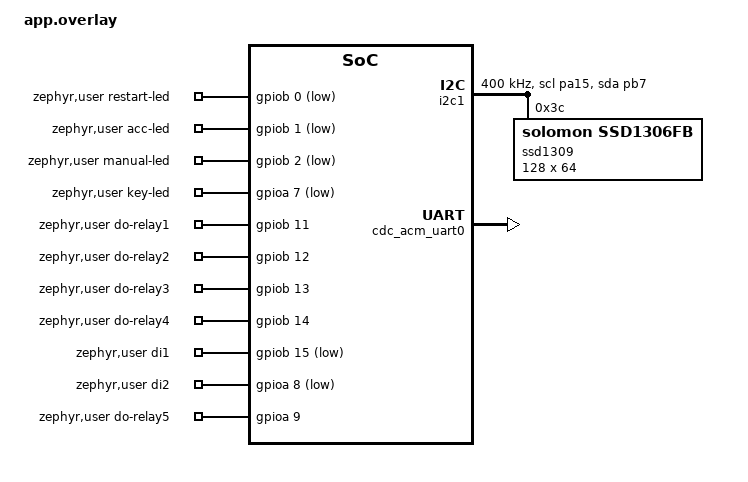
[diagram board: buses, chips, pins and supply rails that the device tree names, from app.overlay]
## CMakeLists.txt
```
# Copyright (c) 2026
# SPDX-License-Identifier: Apache-2.0

cmake_minimum_required(VERSION 3.20.0)

find_package(Zephyr REQUIRED HINTS $ENV{ZEPHYR_BASE})
project(AGMO_TIC)

target_sources(app PRIVATE
    src/main.c
    src/tic_output.c
    src/tic_input.c
    src/tic_fsm.c
    src/tic_can.c
    src/tic_shell.c
)
```

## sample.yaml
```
sample:
  name: AGMO_TIC bring-up test
tests:
  app.agmo_tic:
    platform_allow: agmo_tic
    tags:
      - gpio
      - usb
      - can
```

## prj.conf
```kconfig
CONFIG_GPIO=y

CONFIG_DAJILOG_COMPONENT_ADS1232=n
CONFIG_DAJILOG_COMPONENT_OLED_DISPLAY=n
CONFIG_DAJILOG_COMPONENT_RS485_MODBUS=n
CONFIG_DAJILOG_COMPONENT_CAN_BUS=n
CONFIG_DAJILOG_COMPONENT_SBUS=n
CONFIG_DAJILOG_COMPONENT_SDI12_SLAVE=n

CONFIG_CAN=y
CONFIG_CAN_FD_MODE=n
CONFIG_CAN_DEFAULT_BITRATE=250000

CONFIG_PRINTK=y
CONFIG_LOG=n

CONFIG_SHELL=y
CONFIG_SHELL_BACKEND_SERIAL=y
CONFIG_SHELL_MINIMAL=y
CONFIG_SHELL_HELP=y
CONFIG_SHELL_HELP_OPT_PARSE=y
CONFIG_SHELL_HELP_ON_WRONG_ARGUMENT_COUNT=y
CONFIG_SHELL_STACK_SIZE=1024
CONFIG_SHELL_CMD_BUFF_SIZE=64
CONFIG_SHELL_PRINTF_BUFF_SIZE=32
CONFIG_SHELL_ARGC_MAX=5
CONFIG_SHELL_HISTORY=n
CONFIG_SHELL_TAB=n
CONFIG_SHELL_WILDCARD=n
CONFIG_SHELL_METAKEYS=n
CONFIG_SHELL_STATS=n
CONFIG_SHELL_VT100_COLORS=n
CONFIG_SHELL_PROMPT_CHANGE=n
CONFIG_THREAD_NAME=y
CONFIG_BOOT_BANNER=n
CONFIG_CBPRINTF_NANO=y

CONFIG_SERIAL=y
CONFIG_CONSOLE=y
CONFIG_UART_CONSOLE=y
CONFIG_UART_LINE_CTRL=y

CONFIG_USB_DEVICE_STACK=y
CONFIG_USB_CDC_ACM=y
CONFIG_USB_DEVICE_INITIALIZE_AT_BOOT=n
CONFIG_USB_DEVICE_PRODUCT="AGMO_TIC"
CONFIG_USB_DEVICE_PID=0x0004
```

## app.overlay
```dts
/ {
	chosen {
		zephyr,console = &cdc_acm_uart0;
		zephyr,shell-uart = &cdc_acm_uart0;
		zephyr,display = &ssd1309;
	};

	zephyr,user {
		restart-led-gpios = <&gpiob 0 GPIO_ACTIVE_LOW>;
		acc-led-gpios = <&gpiob 1 GPIO_ACTIVE_LOW>;
		manual-led-gpios = <&gpiob 2 GPIO_ACTIVE_LOW>;
		key-led-gpios = <&gpioa 7 GPIO_ACTIVE_LOW>;
		do-relay1-gpios = <&gpiob 11 GPIO_ACTIVE_HIGH>;
		do-relay2-gpios = <&gpiob 12 GPIO_ACTIVE_HIGH>;
		do-relay3-gpios = <&gpiob 13 GPIO_ACTIVE_HIGH>;
		do-relay4-gpios = <&gpiob 14 GPIO_ACTIVE_HIGH>;
		di1-gpios = <&gpiob 15 GPIO_ACTIVE_LOW>;
		di2-gpios = <&gpioa 8 GPIO_ACTIVE_LOW>;
		do-relay5-gpios = <&gpioa 9 GPIO_ACTIVE_HIGH>;
	};
};

&usart1 {
	status = "disabled";
};

&usart2 {
	status = "disabled";
};

&i2c1 {
	pinctrl-0 = <&i2c1_scl_pa15 &i2c1_sda_pb7>;
	pinctrl-names = "default";
	clock-frequency = <400000>;
	status = "okay";

	ssd1309: ssd1309@3c {
		compatible = "solomon,ssd1306fb";
		reg = <0x3c>;
		width = <128>;
		height = <64>;
		segment-offset = <0>;
		page-offset = <0>;
		display-offset = <0>;
		multiplex-ratio = <63>;
		segment-remap;
		com-invdir;
		prechargep = <0x22>;
	};
};

&zephyr_udc0 {
	cdc_acm_uart0: cdc_acm_uart0 {
		compatible = "zephyr,cdc-acm-uart";
	};
};
```

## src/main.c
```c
/* SPDX-License-Identifier: Apache-2.0 */

#include <zephyr/device.h>
#include <zephyr/devicetree.h>
#include <zephyr/drivers/uart.h>
#include <zephyr/kernel.h>
#include <zephyr/sys/printk.h>
#include <zephyr/usb/usb_device.h>

#include "tic_can.h"
#include "tic_fsm.h"
#include "tic_input.h"
#include "tic_output.h"

#define USB_DTR_WAIT_MS 3000

static const struct device *const console_dev =
	DEVICE_DT_GET(DT_CHOSEN(zephyr_console));

static void start_usb_console(void)
{
	uint32_t dtr = 0;
	int ret;

	ret = usb_enable(NULL);
	if (ret != 0 && ret != -EALREADY) {
		return;
	}
	for (int elapsed = 0; elapsed < USB_DTR_WAIT_MS; elapsed += 100) {
		(void)uart_line_ctrl_get(console_dev, UART_LINE_CTRL_DTR, &dtr);
		if (dtr != 0U) {
			break;
		}
		k_sleep(K_MSEC(100));
	}
}

int main(void)
{
	int ret;

	ret = tic_output_init();
	if (ret != 0) {
		return 0;
	}
	ret = tic_fsm_start();
	if (ret != 0) {
		(void)tic_output_all_off();
		return 0;
	}
	ret = tic_input_init();
	if (ret == 0) {
		ret = tic_input_start();
	}
	if (ret != 0) {
		const struct tic_event fault = { .type = TIC_EVENT_INTERNAL_FAULT };
		(void)tic_fsm_post(&fault, K_MSEC(20));
	}

	ret = tic_can_init();
	if (ret == 0) {
		ret = tic_can_start();
	}
	if (ret != 0) {
		const struct tic_event fault = { .type = TIC_EVENT_INTERNAL_FAULT };
		(void)tic_fsm_post(&fault, K_MSEC(20));
	}

	start_usb_console();
	printk("AGMO TIC ready. Type 'help'.\r\n");
	return 0;
}
```

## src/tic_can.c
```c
/* SPDX-License-Identifier: Apache-2.0 */

#include "tic_can.h"

#include <zephyr/device.h>
#include <zephyr/devicetree.h>
#include <zephyr/drivers/can.h>
#include <zephyr/kernel.h>
#include <zephyr/sys/atomic.h>

#include "tic_fsm.h"
#include "tic_input.h"
#include "tic_output.h"

#define TIC_CAN_COMMAND_ID 0x18FF0001U
#define TIC_CAN_STATUS_ID 0x18FF0100U
#define TIC_CAN_PERIOD_MS 200
#define TIC_CAN_TIMEOUT_MS 2000
#define TIC_CAN_THREAD_STACK_SIZE 1536
#define TIC_CAN_THREAD_PRIORITY 4
#define TIC_CAN_RX_QUEUE_DEPTH 8

enum tic_can_command {
	TIC_CMD_AUTO_OFF = 0x00,
	TIC_CMD_AUTO_ON = 0x01,
	TIC_CMD_START = 0x02,
	TIC_CMD_ALL_OFF = 0x03,
	TIC_CMD_ENGINE_STOP = 0x04,
};

static const struct device *const can_dev =
	DEVICE_DT_GET(DT_CHOSEN(zephyr_canbus));
K_MSGQ_DEFINE(can_rx_queue, sizeof(struct can_frame), TIC_CAN_RX_QUEUE_DEPTH,
	      sizeof(uint32_t));
K_THREAD_STACK_DEFINE(can_thread_stack, TIC_CAN_THREAD_STACK_SIZE);
static struct k_thread can_thread_data;
static struct tic_can_snapshot snapshot;
K_MUTEX_DEFINE(can_snapshot_mutex);
static atomic_t rx_count;
static atomic_t rx_drop_count;
static atomic_t rx_invalid_count;
static atomic_t tx_count;
static atomic_t tx_error_count;
static int rx_filter_id = -ENODEV;
static bool initialized;

const char *tic_can_state_name(enum can_state state)
{
	switch (state) {
	case CAN_STATE_ERROR_ACTIVE:
		return "error-active";
	case CAN_STATE_ERROR_WARNING:
		return "error-warning";
	case CAN_STATE_ERROR_PASSIVE:
		return "error-passive";
	case CAN_STATE_BUS_OFF:
		return "bus-off";
	case CAN_STATE_STOPPED:
		return "stopped";
	default:
		return "unknown";
	}
}

static void can_rx_callback(const struct device *dev, struct can_frame *frame,
			    void *user_data)
{
	ARG_UNUSED(dev);
	ARG_UNUSED(user_data);

	atomic_inc(&rx_count);
	if (k_msgq_put(&can_rx_queue, frame, K_NO_WAIT) != 0) {
		atomic_inc(&rx_drop_count);
	}
}

static void post_simple_event(enum tic_event_type type, uint8_t command_code)
{
	const struct tic_event event = {
		.type = type,
		.command_code = command_code,
		.source = TIC_CONTROL_CAN,
	};

	(void)tic_fsm_post(&event, K_MSEC(20));
}

static bool command_frame_format_valid(const struct can_frame *frame)
{
	if (frame->id != TIC_CAN_COMMAND_ID || frame->dlc != 8 ||
	    (frame->flags & CAN_FRAME_IDE) == 0) {
		return false;
	}
	if (frame->data[0] > TIC_CMD_ENGINE_STOP) {
		return false;
	}
	for (size_t i = 2; i < 8; i++) {
		if (frame->data[i] != 0) {
			return false;
		}
	}
	if (frame->data[0] != TIC_CMD_START && frame->data[1] != 0) {
		return false;
	}
	return true;
}

static void process_command_frame(const struct can_frame *frame,
				  int64_t *last_valid_rx_ms)
{
	uint8_t command;
	struct tic_event event;

	if (!command_frame_format_valid(frame)) {
		atomic_inc(&rx_invalid_count);
		return;
	}

	command = frame->data[0];
	*last_valid_rx_ms = k_uptime_get();
	post_simple_event(TIC_EVENT_CAN_VALID, command);

	switch (command) {
	case TIC_CMD_AUTO_OFF:
		post_simple_event(TIC_EVENT_AUTO_DISABLE, command);
		break;
	case TIC_CMD_AUTO_ON:
		post_simple_event(TIC_EVENT_AUTO_ENABLE, command);
		break;
	case TIC_CMD_START:
		/* START never acquires AUTO control; FSM rejects it unless ready. */
		event = (struct tic_event){
			.type = TIC_EVENT_START_REQUEST,
			.crank_time_ms = (uint16_t)frame->data[1] * 100U,
			.command_code = command,
			.source = TIC_CONTROL_CAN,
		};
		(void)tic_fsm_post(&event, K_MSEC(20));
		break;
	case TIC_CMD_ALL_OFF:
		post_simple_event(TIC_EVENT_ALL_OFF, command);
		break;
	case TIC_CMD_ENGINE_STOP:
		post_simple_event(TIC_EVENT_STOP_REQUEST, command);
		break;
	default:
		break;
	}
}

static int send_status_frame(void)
{
	struct tic_fsm_snapshot fsm;
	struct tic_input_snapshot input;
	struct tic_output_snapshot output;
	struct can_frame frame = {
		.id = TIC_CAN_STATUS_ID,
		.dlc = 8,
		.flags = CAN_FRAME_IDE,
	};
	int ret;

	tic_fsm_get_snapshot(&fsm);
	tic_input_get_snapshot(&input);
	tic_output_get_snapshot(&output);

	frame.data[0] = (input.di1_key_on ? BIT(0) : 0U) |
			(input.di2_manual_crank ? BIT(1) : 0U);
	frame.data[1] = (output.r1_key_on ? BIT(0) : 0U) |
			(output.r2_restart ? BIT(1) : 0U) |
			(output.r3_manual_lockout ? BIT(2) : 0U) |
			(output.r4_engine_stop ? BIT(3) : 0U);
	frame.data[2] = (fsm.auto_enabled ? BIT(0) : 0U) |
			(fsm.state == TIC_STATE_AUTO_READY ? BIT(1) : 0U) |
			(fsm.start_accepted ? BIT(2) : 0U) |
			(fsm.state == TIC_STATE_AUTO_CRANKING ? BIT(3) : 0U) |
			(fsm.start_complete ? BIT(4) : 0U) |
			(fsm.start_rejected ? BIT(5) : 0U) |
			(fsm.command_valid ? BIT(6) : 0U) |
			(fsm.can_timeout ? BIT(7) : 0U);
	frame.data[3] = (uint8_t)fsm.state;
	frame.data[4] = fsm.fault != TIC_FAULT_NONE ?
			(uint8_t)(0x80U | (uint8_t)fsm.fault) :
			(uint8_t)fsm.inhibit;
	frame.data[5] = fsm.last_command_code;
	frame.data[6] = (fsm.stop_accepted ? BIT(0) : 0U) |
			(fsm.stop_complete ? BIT(1) : 0U) |
			(fsm.stop_rejected ? BIT(2) : 0U);
	frame.data[7] = (uint8_t)MIN(DIV_ROUND_UP(fsm.crank_remaining_ms, 100U),
				     UINT8_MAX);

	ret = can_send(can_dev, &frame, K_MSEC(50), NULL, NULL);
	if (ret == 0) {
		atomic_inc(&tx_count);
	} else {
		atomic_inc(&tx_error_count);
	}
	return ret;
}

static void update_can_snapshot(bool command_received, bool timeout,
				enum can_state state,
				const struct can_bus_err_cnt *error_count,
				int last_error)
{
	k_mutex_lock(&can_snapshot_mutex, K_FOREVER);
	snapshot.ready = true;
	snapshot.command_received = command_received;
	snapshot.timeout = timeout;
	snapshot.bus_state = state;
	snapshot.error_count = *error_count;
	snapshot.rx_count = (uint32_t)atomic_get(&rx_count);
	snapshot.rx_drop_count = (uint32_t)atomic_get(&rx_drop_count);
	snapshot.rx_invalid_count = (uint32_t)atomic_get(&rx_invalid_count);
	snapshot.tx_count = (uint32_t)atomic_get(&tx_count);
	snapshot.tx_error_count = (uint32_t)atomic_get(&tx_error_count);
	snapshot.last_error = last_error;
	k_mutex_unlock(&can_snapshot_mutex);
}

static void can_thread(void *arg1, void *arg2, void *arg3)
{
	struct can_frame frame;
	struct can_bus_err_cnt error_count = { 0 };
	enum can_state bus_state = CAN_STATE_STOPPED;
	int64_t next_status_ms = k_uptime_get() + TIC_CAN_PERIOD_MS;
	int64_t last_valid_rx_ms = 0;
	bool command_received = false;
	bool timeout_reported = false;
	bool bus_off_reported = false;
	int last_error = 0;

	ARG_UNUSED(arg1);
	ARG_UNUSED(arg2);
	ARG_UNUSED(arg3);

	while (1) {
		struct tic_fsm_snapshot fsm;
		int ret = k_msgq_get(&can_rx_queue, &frame, K_MSEC(20));
		int64_t now = k_uptime_get();

		if (ret == 0) {
			int64_t before = last_valid_rx_ms;

			process_command_frame(&frame, &last_valid_rx_ms);
			if (last_valid_rx_ms != before) {
				command_received = true;
				timeout_reported = false;
			}
		}

		if (now >= next_status_ms) {
			last_error = send_status_frame();
			next_status_ms += TIC_CAN_PERIOD_MS;
			if (now >= next_status_ms) {
				next_status_ms = now + TIC_CAN_PERIOD_MS;
			}
		}

		ret = can_get_state(can_dev, &bus_state, &error_count);
		if (ret != 0) {
			last_error = ret;
		}
		if (bus_state == CAN_STATE_BUS_OFF && !bus_off_reported) {
			post_simple_event(TIC_EVENT_CAN_BUS_OFF, 0);
			bus_off_reported = true;
		} else if (bus_state != CAN_STATE_BUS_OFF) {
			bus_off_reported = false;
		}

		tic_fsm_get_snapshot(&fsm);
		if (command_received && fsm.auto_enabled &&
		    fsm.auto_control_source == TIC_CONTROL_CAN &&
		    now - last_valid_rx_ms >= TIC_CAN_TIMEOUT_MS &&
		    !timeout_reported) {
			post_simple_event(TIC_EVENT_CAN_TIMEOUT, 0);
			timeout_reported = true;
		}
		if (!fsm.auto_enabled && !fsm.can_timeout) {
			timeout_reported = false;
		}

		update_can_snapshot(command_received, timeout_reported, bus_state,
				    &error_count, last_error);
	}
}

int tic_can_init(void)
{
	const struct can_filter filter = {
		.id = TIC_CAN_COMMAND_ID,
		.mask = CAN_EXT_ID_MASK,
		.flags = CAN_FILTER_IDE,
	};
	int ret;

	if (!device_is_ready(can_dev)) {
		return -ENODEV;
	}

	ret = can_start(can_dev);
	if (ret != 0 && ret != -EALREADY) {
		return ret;
	}

	rx_filter_id = can_add_rx_filter(can_dev, can_rx_callback, NULL, &filter);
	if (rx_filter_id < 0) {
		return rx_filter_id;
	}

	k_mutex_lock(&can_snapshot_mutex, K_FOREVER);
	snapshot = (struct tic_can_snapshot){
		.ready = true,
	};
	k_mutex_unlock(&can_snapshot_mutex);
	initialized = true;
	return 0;
}

int tic_can_start(void)
{
	if (!initialized) {
		return -EAGAIN;
	}

	k_thread_create(&can_thread_data, can_thread_stack,
			K_THREAD_STACK_SIZEOF(can_thread_stack), can_thread,
			NULL, NULL, NULL, TIC_CAN_THREAD_PRIORITY, 0, K_NO_WAIT);
	k_thread_name_set(&can_thread_data, "tic_can");
	return 0;
}

void tic_can_get_snapshot(struct tic_can_snapshot *out)
{
	if (out == NULL) {
		return;
	}
	k_mutex_lock(&can_snapshot_mutex, K_FOREVER);
	*out = snapshot;
	k_mutex_unlock(&can_snapshot_mutex);
}
```

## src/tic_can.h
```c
/* SPDX-License-Identifier: Apache-2.0 */

#ifndef AGMO_TIC_CAN_H_
#define AGMO_TIC_CAN_H_

#include <stdbool.h>
#include <stdint.h>

#include <zephyr/drivers/can.h>

struct tic_can_snapshot {
	bool ready;
	bool command_received;
	bool timeout;
	enum can_state bus_state;
	struct can_bus_err_cnt error_count;
	uint32_t rx_count;
	uint32_t rx_drop_count;
	uint32_t rx_invalid_count;
	uint32_t tx_count;
	uint32_t tx_error_count;
	int last_error;
};

int tic_can_init(void);
int tic_can_start(void);
void tic_can_get_snapshot(struct tic_can_snapshot *out);
const char *tic_can_state_name(enum can_state state);

#endif /* AGMO_TIC_CAN_H_ */
```

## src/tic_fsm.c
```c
/* SPDX-License-Identifier: Apache-2.0 */

#include "tic_fsm.h"

#include <zephyr/kernel.h>

#include "tic_output.h"

#define FSM_THREAD_STACK_SIZE 1536
#define FSM_THREAD_PRIORITY 3
#define FSM_EVENT_QUEUE_DEPTH 16
#define AUTO_ARM_DELAY_MS 100
#define CRANK_MIN_MS 1000
#define CRANK_MAX_MS 3000
#define ENGINE_STOP_HOLD_MS 5000
#define KEY_RECOVERY_WAIT_MS 200

struct tic_fsm_context {
  struct tic_fsm_snapshot snapshot;
  int64_t crank_deadline_ms;
};

K_MSGQ_DEFINE(fsm_event_queue, sizeof(struct tic_event), FSM_EVENT_QUEUE_DEPTH,
              sizeof(uint32_t));
K_THREAD_STACK_DEFINE(fsm_thread_stack, FSM_THREAD_STACK_SIZE);
static struct k_thread fsm_thread_data;
static struct tic_fsm_context ctx = {
    .snapshot =
        {
            .state = TIC_STATE_INIT,
        },
};
static struct tic_fsm_snapshot public_snapshot = {
    .state = TIC_STATE_INIT,
};
static int64_t public_crank_deadline_ms;
K_MUTEX_DEFINE(fsm_snapshot_mutex);

static void arm_delay_handler(struct k_work *work);
static void crank_timeout_handler(struct k_work *work);
static void stop_timeout_handler(struct k_work *work);
static void key_recovery_timeout_handler(struct k_work *work);
K_WORK_DELAYABLE_DEFINE(arm_delay_work, arm_delay_handler);
K_WORK_DELAYABLE_DEFINE(crank_timeout_work, crank_timeout_handler);
K_WORK_DELAYABLE_DEFINE(stop_timeout_work, stop_timeout_handler);
K_WORK_DELAYABLE_DEFINE(key_recovery_timeout_work,
                        key_recovery_timeout_handler);

const char *tic_fsm_state_name(enum tic_state state) {
  switch (state) {
  case TIC_STATE_INIT:
    return "INIT";
  case TIC_STATE_SAFE_OFF:
    return "SAFE_OFF";
  case TIC_STATE_KEY_DETECTED:
    return "KEY_DETECTED";
  case TIC_STATE_AUTO_ARMING:
    return "AUTO_ARMING";
  case TIC_STATE_AUTO_READY:
    return "AUTO_READY";
  case TIC_STATE_AUTO_CRANKING:
    return "AUTO_CRANKING";
  case TIC_STATE_AUTO_COMPLETE:
    return "AUTO_COMPLETE";
  case TIC_STATE_ENGINE_STOPPING:
    return "ENGINE_STOPPING";
  case TIC_STATE_FAULT:
    return "FAULT";
  default:
    return "UNKNOWN";
  }
}

static void snapshot_publish(void) {
  if (ctx.snapshot.state == TIC_STATE_AUTO_CRANKING) {
    int64_t remaining = ctx.crank_deadline_ms - k_uptime_get();

    ctx.snapshot.crank_remaining_ms =
        remaining > 0 ? (uint16_t)MIN(remaining, UINT16_MAX) : 0;
  } else {
    ctx.snapshot.crank_remaining_ms = 0;
  }

  k_mutex_lock(&fsm_snapshot_mutex, K_FOREVER);
  public_snapshot = ctx.snapshot;
  public_crank_deadline_ms = ctx.crank_deadline_ms;
  k_mutex_unlock(&fsm_snapshot_mutex);
}

static void set_fault(enum tic_fault_code fault) {
  (void)k_work_cancel_delayable(&arm_delay_work);
  (void)k_work_cancel_delayable(&crank_timeout_work);
  (void)k_work_cancel_delayable(&stop_timeout_work);
  (void)k_work_cancel_delayable(&key_recovery_timeout_work);
  (void)tic_output_all_off();
  ctx.snapshot.auto_enabled = false;
  ctx.snapshot.auto_control_source = TIC_CONTROL_NONE;
  ctx.snapshot.fault = fault;
  ctx.snapshot.state = TIC_STATE_FAULT;
  ctx.crank_deadline_ms = 0;
  tic_output_sync_auto_leds(ctx.snapshot.key_on);
}

static void release_auto(bool can_timeout) {
  (void)k_work_cancel_delayable(&arm_delay_work);
  (void)k_work_cancel_delayable(&crank_timeout_work);
  (void)k_work_cancel_delayable(&key_recovery_timeout_work);
  (void)tic_output_all_off();
  ctx.snapshot.auto_enabled = false;
  ctx.snapshot.auto_control_source = TIC_CONTROL_NONE;
  ctx.snapshot.start_accepted = false;
  ctx.snapshot.start_complete = false;
  ctx.snapshot.start_rejected = false;
  ctx.snapshot.stop_accepted = false;
  ctx.snapshot.stop_complete = false;
  ctx.snapshot.stop_rejected = false;
  ctx.snapshot.can_timeout = can_timeout;
  if (can_timeout) {
    ctx.snapshot.command_valid = false;
  }
  ctx.snapshot.fault = can_timeout ? TIC_FAULT_CAN_TIMEOUT : TIC_FAULT_NONE;
  ctx.snapshot.state =
      ctx.snapshot.key_on ? TIC_STATE_KEY_DETECTED : TIC_STATE_SAFE_OFF;
  ctx.crank_deadline_ms = 0;
  tic_output_sync_auto_leds(ctx.snapshot.key_on);
}

static void key_off(void) {
  ctx.snapshot.key_on = false;
  ctx.snapshot.manual_crank = false;
  ctx.snapshot.inhibit = TIC_INHIBIT_NONE;
  release_auto(false);
  ctx.snapshot.state = TIC_STATE_SAFE_OFF;
  tic_output_sync_auto_leds(false);
}

static void process_event(const struct tic_event *event) {
  int ret;

  switch (event->type) {
  case TIC_EVENT_BOOT_COMPLETE:
    (void)tic_output_all_off();
    ctx.snapshot.state = TIC_STATE_SAFE_OFF;
    break;

  case TIC_EVENT_KEY_ON:
    (void)k_work_cancel_delayable(&key_recovery_timeout_work);
    ctx.snapshot.key_on = true;
    ctx.snapshot.can_timeout = false;
    if (ctx.snapshot.state == TIC_STATE_SAFE_OFF ||
        ctx.snapshot.state == TIC_STATE_INIT ||
        ctx.snapshot.state == TIC_STATE_FAULT) {
      ctx.snapshot.state = TIC_STATE_KEY_DETECTED;
      ctx.snapshot.fault = TIC_FAULT_NONE;
      ctx.snapshot.inhibit = TIC_INHIBIT_NONE;
    }
    tic_output_sync_auto_leds(true);
    break;

  case TIC_EVENT_KEY_OFF:
    if (ctx.snapshot.state == TIC_STATE_ENGINE_STOPPING) {
      ctx.snapshot.key_on = false;
      ctx.snapshot.manual_crank = false;
      tic_output_sync_auto_leds(false);
    } else {
      key_off();
    }
    break;

  case TIC_EVENT_MANUAL_CRANK_ON:
    ctx.snapshot.manual_crank = true;
    break;

  case TIC_EVENT_MANUAL_CRANK_OFF:
    ctx.snapshot.manual_crank = false;
    break;

  case TIC_EVENT_CAN_VALID:
    ctx.snapshot.command_valid = true;
    ctx.snapshot.can_timeout = false;
    ctx.snapshot.last_command_code = event->command_code;
    if (ctx.snapshot.fault == TIC_FAULT_CAN_TIMEOUT) {
      ctx.snapshot.fault = TIC_FAULT_NONE;
    }
    break;

  case TIC_EVENT_AUTO_ENABLE:
    ctx.snapshot.last_command_code = event->command_code;
    if (ctx.snapshot.state == TIC_STATE_ENGINE_STOPPING) {
      break;
    }
    if (!ctx.snapshot.key_on) {
      ctx.snapshot.inhibit = TIC_INHIBIT_KEY_OFF;
      break;
    }
    if (ctx.snapshot.manual_crank) {
      ctx.snapshot.inhibit = TIC_INHIBIT_MANUAL_CRANK_ACTIVE;
      break;
    }
    if (ctx.snapshot.state == TIC_STATE_KEY_DETECTED) {
      ctx.snapshot.start_accepted = false;
      ctx.snapshot.start_complete = false;
      ctx.snapshot.start_rejected = false;
      ctx.snapshot.stop_accepted = false;
      ctx.snapshot.stop_complete = false;
      ctx.snapshot.stop_rejected = false;
      ret = tic_output_set_r1(true);
      if (ret != 0) {
        set_fault(TIC_FAULT_OUTPUT);
        break;
      }
      ctx.snapshot.auto_enabled = true;
      ctx.snapshot.auto_control_source = event->source;
      ctx.snapshot.inhibit = TIC_INHIBIT_NONE;
      ctx.snapshot.state = TIC_STATE_AUTO_ARMING;
      (void)k_work_reschedule(&arm_delay_work, K_MSEC(AUTO_ARM_DELAY_MS));
    }
    break;

  case TIC_EVENT_AUTO_ARM_DELAY_DONE:
    if (ctx.snapshot.state != TIC_STATE_AUTO_ARMING) {
      break;
    }
    if (!ctx.snapshot.key_on || ctx.snapshot.manual_crank) {
      release_auto(false);
      break;
    }
    ret = tic_output_set_r3(true);
    if (ret != 0) {
      set_fault(TIC_FAULT_OUTPUT);
      break;
    }
    ctx.snapshot.state = TIC_STATE_AUTO_READY;
    break;

  case TIC_EVENT_START_REQUEST:
    ctx.snapshot.last_command_code = event->command_code;
    if (ctx.snapshot.start_accepted) {
      /* ACK remains asserted; duplicate retry must not crank again. */
      break;
    }
    if (!ctx.snapshot.key_on || !ctx.snapshot.auto_enabled ||
        ctx.snapshot.manual_crank ||
        (ctx.snapshot.state != TIC_STATE_AUTO_READY &&
         ctx.snapshot.state != TIC_STATE_AUTO_COMPLETE)) {
      ctx.snapshot.inhibit = TIC_INHIBIT_AUTO_NOT_READY;
      ctx.snapshot.start_rejected = true;
      break;
    }
    if (event->crank_time_ms < CRANK_MIN_MS ||
        event->crank_time_ms > CRANK_MAX_MS) {
      ctx.snapshot.inhibit = TIC_INHIBIT_CRANK_TIME;
      ctx.snapshot.start_rejected = true;
      break;
    }
    ret = tic_output_set_r2(true);
    if (ret != 0) {
      set_fault(TIC_FAULT_OUTPUT);
      break;
    }
    ctx.snapshot.inhibit = TIC_INHIBIT_NONE;
    ctx.snapshot.start_accepted = true;
    ctx.snapshot.start_complete = false;
    ctx.snapshot.start_rejected = false;
    ctx.snapshot.stop_accepted = false;
    ctx.snapshot.stop_complete = false;
    ctx.snapshot.stop_rejected = false;
    ctx.snapshot.state = TIC_STATE_AUTO_CRANKING;
    ctx.crank_deadline_ms = k_uptime_get() + event->crank_time_ms;
    (void)k_work_reschedule(&crank_timeout_work, K_MSEC(event->crank_time_ms));
    break;

  case TIC_EVENT_CRANK_TIMEOUT:
    if (ctx.snapshot.state == TIC_STATE_AUTO_CRANKING) {
      ret = tic_output_set_r2(false);
      if (ret != 0) {
        set_fault(TIC_FAULT_OUTPUT);
        break;
      }
      ctx.snapshot.state = TIC_STATE_AUTO_COMPLETE;
      ctx.snapshot.start_complete = true;
      ctx.crank_deadline_ms = 0;
    }
    break;

  case TIC_EVENT_STOP_REQUEST:
    ctx.snapshot.last_command_code = event->command_code;
    if (ctx.snapshot.stop_accepted) {
      /* Duplicate STOP retry: keep the original 5-second timer. */
      break;
    }
    if (!ctx.snapshot.key_on || !ctx.snapshot.auto_enabled ||
        (ctx.snapshot.state != TIC_STATE_AUTO_READY &&
         ctx.snapshot.state != TIC_STATE_AUTO_CRANKING &&
         ctx.snapshot.state != TIC_STATE_AUTO_COMPLETE)) {
      ctx.snapshot.inhibit = TIC_INHIBIT_STOP_NOT_ALLOWED;
      ctx.snapshot.stop_rejected = true;
      break;
    }
    (void)k_work_cancel_delayable(&arm_delay_work);
    (void)k_work_cancel_delayable(&crank_timeout_work);

    ret = tic_output_set_r2(false);

    if (ret == 0) {
      ret = tic_output_set_r4(true);
    }

    if (ret == 0) {
      /* Cut ECU main power while keeping R1/R3 energized. */
      ret = tic_output_set_r5(true);
    }

    if (ret != 0) {
      set_fault(TIC_FAULT_OUTPUT);
      break;
    }
    /* A valid STOP supersedes every previous START result. */
    ctx.snapshot.start_accepted = false;
    ctx.snapshot.start_complete = false;
    ctx.snapshot.start_rejected = false;
    ctx.snapshot.stop_accepted = true;
    ctx.snapshot.stop_complete = false;
    ctx.snapshot.stop_rejected = false;
    ctx.snapshot.inhibit = TIC_INHIBIT_NONE;
    ctx.snapshot.state = TIC_STATE_ENGINE_STOPPING;
    ctx.crank_deadline_ms = 0;
    (void)k_work_reschedule(&stop_timeout_work, K_MSEC(ENGINE_STOP_HOLD_MS));
    break;

  case TIC_EVENT_STOP_TIMEOUT:
    if (ctx.snapshot.state == TIC_STATE_ENGINE_STOPPING) {
      ret = tic_output_set_r4(false);

      if (ret == 0) {
        ret = tic_output_set_r5(false);
      }

      if (ret != 0) {
        set_fault(TIC_FAULT_OUTPUT);
        break;
      }
      ctx.snapshot.stop_complete = true;
      /* Engine is stopped; allow a new START in the same AUTO session. */
      ctx.snapshot.start_accepted = false;
      ctx.snapshot.start_complete = false;
      ctx.snapshot.start_rejected = false;
      if (ctx.snapshot.can_timeout) {
        (void)tic_output_all_off();
        ctx.snapshot.auto_enabled = false;
        ctx.snapshot.auto_control_source = TIC_CONTROL_NONE;
        ctx.snapshot.state = TIC_STATE_SAFE_OFF;
      } else {
        ctx.snapshot.state = TIC_STATE_AUTO_READY;
        if (!ctx.snapshot.key_on) {
          (void)k_work_reschedule(&key_recovery_timeout_work,
                                  K_MSEC(KEY_RECOVERY_WAIT_MS));
        }
      }
    }
    break;

  case TIC_EVENT_KEY_RECOVERY_TIMEOUT:
    if (ctx.snapshot.auto_enabled && !ctx.snapshot.key_on) {
      key_off();
    }
    break;

  case TIC_EVENT_AUTO_DISABLE:
  case TIC_EVENT_ALL_OFF:
    if (ctx.snapshot.state != TIC_STATE_ENGINE_STOPPING) {
      release_auto(false);
    }
    break;

  case TIC_EVENT_CAN_TIMEOUT:
    if (ctx.snapshot.state == TIC_STATE_ENGINE_STOPPING) {
      ctx.snapshot.can_timeout = true;
      ctx.snapshot.command_valid = false;
      ctx.snapshot.fault = TIC_FAULT_CAN_TIMEOUT;
    } else {
      release_auto(true);
    }
    break;

  case TIC_EVENT_CAN_BUS_OFF:
    if (ctx.snapshot.state == TIC_STATE_ENGINE_STOPPING) {
      ctx.snapshot.fault = TIC_FAULT_CAN_BUS_OFF;
      ctx.snapshot.command_valid = false;
    } else {
      set_fault(TIC_FAULT_CAN_BUS_OFF);
    }
    break;

  case TIC_EVENT_INTERNAL_FAULT:
    set_fault(TIC_FAULT_INTERNAL);
    break;

  default:
    break;
  }

  tic_output_sync_auto_leds(ctx.snapshot.key_on);
  snapshot_publish();
}

static void fsm_thread(void *arg1, void *arg2, void *arg3) {
  struct tic_event event;

  ARG_UNUSED(arg1);
  ARG_UNUSED(arg2);
  ARG_UNUSED(arg3);

  while (1) {
    if (k_msgq_get(&fsm_event_queue, &event, K_FOREVER) == 0) {
      process_event(&event);
    }
  }
}

static void arm_delay_handler(struct k_work *work) {
  const struct tic_event event = {
      .type = TIC_EVENT_AUTO_ARM_DELAY_DONE,
  };

  ARG_UNUSED(work);
  (void)tic_fsm_post(&event, K_MSEC(20));
}

static void crank_timeout_handler(struct k_work *work) {
  const struct tic_event event = {
      .type = TIC_EVENT_CRANK_TIMEOUT,
  };

  ARG_UNUSED(work);
  (void)tic_fsm_post(&event, K_MSEC(20));
}

static void stop_timeout_handler(struct k_work *work) {
  const struct tic_event event = {
      .type = TIC_EVENT_STOP_TIMEOUT,
  };

  ARG_UNUSED(work);
  (void)tic_fsm_post(&event, K_MSEC(20));
}

static void key_recovery_timeout_handler(struct k_work *work) {
  const struct tic_event event = {
      .type = TIC_EVENT_KEY_RECOVERY_TIMEOUT,
  };

  ARG_UNUSED(work);
  (void)tic_fsm_post(&event, K_MSEC(20));
}

int tic_fsm_start(void) {
  const struct tic_event boot_event = {
      .type = TIC_EVENT_BOOT_COMPLETE,
  };

  k_thread_create(&fsm_thread_data, fsm_thread_stack,
                  K_THREAD_STACK_SIZEOF(fsm_thread_stack), fsm_thread, NULL,
                  NULL, NULL, FSM_THREAD_PRIORITY, 0, K_NO_WAIT);
  k_thread_name_set(&fsm_thread_data, "tic_fsm");
  return tic_fsm_post(&boot_event, K_MSEC(20));
}

int tic_fsm_post(const struct tic_event *event, k_timeout_t timeout) {
  if (event == NULL) {
    return -EINVAL;
  }
  return k_msgq_put(&fsm_event_queue, event, timeout);
}

void tic_fsm_get_snapshot(struct tic_fsm_snapshot *out) {
  if (out == NULL) {
    return;
  }

  k_mutex_lock(&fsm_snapshot_mutex, K_FOREVER);
  *out = public_snapshot;
  if (out->state == TIC_STATE_AUTO_CRANKING) {
    int64_t remaining = public_crank_deadline_ms - k_uptime_get();

    out->crank_remaining_ms =
        remaining > 0 ? (uint16_t)MIN(remaining, UINT16_MAX) : 0;
  }
  k_mutex_unlock(&fsm_snapshot_mutex);
}
```

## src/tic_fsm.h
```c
/* SPDX-License-Identifier: Apache-2.0 */

#ifndef AGMO_TIC_FSM_H_
#define AGMO_TIC_FSM_H_

#include <zephyr/kernel.h>

#include "tic_types.h"

int tic_fsm_start(void);
int tic_fsm_post(const struct tic_event *event, k_timeout_t timeout);
void tic_fsm_get_snapshot(struct tic_fsm_snapshot *out);
const char *tic_fsm_state_name(enum tic_state state);

#endif /* AGMO_TIC_FSM_H_ */
```

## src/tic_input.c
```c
/* SPDX-License-Identifier: Apache-2.0 */

#include "tic_input.h"

#include <zephyr/device.h>
#include <zephyr/devicetree.h>
#include <zephyr/drivers/gpio.h>
#include <zephyr/kernel.h>

#include "tic_fsm.h"

#define USER_NODE DT_PATH(zephyr_user)
#define INPUT_THREAD_STACK_SIZE 768
#define INPUT_THREAD_PRIORITY 5
#define INPUT_SAMPLE_MS 10
#define INPUT_DEBOUNCE_SAMPLES 3

enum input_id {
	INPUT_DI1_KEY_ON,
	INPUT_DI2_MANUAL_CRANK,
	INPUT_COUNT,
};

static const struct gpio_dt_spec inputs[INPUT_COUNT] = {
	[INPUT_DI1_KEY_ON] = GPIO_DT_SPEC_GET(USER_NODE, di1_gpios),
	[INPUT_DI2_MANUAL_CRANK] = GPIO_DT_SPEC_GET(USER_NODE, di2_gpios),
};

static struct tic_input_snapshot snapshot;
static bool stable[INPUT_COUNT];
static bool candidate[INPUT_COUNT];
static uint8_t candidate_count[INPUT_COUNT];
static bool initialized;
K_MUTEX_DEFINE(input_mutex);
K_THREAD_STACK_DEFINE(input_thread_stack, INPUT_THREAD_STACK_SIZE);
static struct k_thread input_thread_data;

static void snapshot_update_locked(void)
{
	snapshot.di1_key_on = stable[INPUT_DI1_KEY_ON];
	snapshot.di2_manual_crank = stable[INPUT_DI2_MANUAL_CRANK];
}

static int post_input_event(enum input_id id, bool active)
{
	struct tic_event event = { 0 };

	switch (id) {
	case INPUT_DI1_KEY_ON:
		event.type = active ? TIC_EVENT_KEY_ON : TIC_EVENT_KEY_OFF;
		break;
	case INPUT_DI2_MANUAL_CRANK:
		event.type = active ? TIC_EVENT_MANUAL_CRANK_ON :
					    TIC_EVENT_MANUAL_CRANK_OFF;
		break;
	default:
		return -EINVAL;
	}

	return tic_fsm_post(&event, K_MSEC(20));
}

static void input_thread(void *arg1, void *arg2, void *arg3)
{
	ARG_UNUSED(arg1);
	ARG_UNUSED(arg2);
	ARG_UNUSED(arg3);

	for (size_t i = 0; i < INPUT_COUNT; i++) {
		(void)post_input_event((enum input_id)i, stable[i]);
	}

	while (1) {
		for (size_t i = 0; i < INPUT_COUNT; i++) {
			bool sample = gpio_pin_get_dt(&inputs[i]) > 0;

			if (sample == stable[i]) {
				candidate[i] = sample;
				candidate_count[i] = 0;
				continue;
			}

			if (sample != candidate[i]) {
				candidate[i] = sample;
				candidate_count[i] = 1;
			} else if (candidate_count[i] < UINT8_MAX) {
				candidate_count[i]++;
			}

			if (candidate_count[i] < INPUT_DEBOUNCE_SAMPLES) {
				continue;
			}

			if (post_input_event((enum input_id)i, sample) != 0) {
				continue;
			}

			stable[i] = sample;
			candidate_count[i] = 0;
			k_mutex_lock(&input_mutex, K_FOREVER);
			snapshot_update_locked();
			k_mutex_unlock(&input_mutex);
		}

		k_sleep(K_MSEC(INPUT_SAMPLE_MS));
	}
}

int tic_input_init(void)
{
	for (size_t i = 0; i < INPUT_COUNT; i++) {
		int ret;

		if (!device_is_ready(inputs[i].port)) {
			return -ENODEV;
		}

		ret = gpio_pin_configure_dt(&inputs[i], GPIO_INPUT | GPIO_PULL_UP);
		if (ret != 0) {
			return ret;
		}

		stable[i] = gpio_pin_get_dt(&inputs[i]) > 0;
		candidate[i] = stable[i];
		candidate_count[i] = 0;
	}

	k_mutex_lock(&input_mutex, K_FOREVER);
	snapshot_update_locked();
	k_mutex_unlock(&input_mutex);
	initialized = true;
	return 0;
}

int tic_input_start(void)
{
	if (!initialized) {
		return -EAGAIN;
	}

	k_thread_create(&input_thread_data, input_thread_stack,
			K_THREAD_STACK_SIZEOF(input_thread_stack), input_thread,
			NULL, NULL, NULL, INPUT_THREAD_PRIORITY, 0, K_NO_WAIT);
	k_thread_name_set(&input_thread_data, "tic_input");
	return 0;
}

void tic_input_get_snapshot(struct tic_input_snapshot *out)
{
	if (out == NULL) {
		return;
	}
	k_mutex_lock(&input_mutex, K_FOREVER);
	*out = snapshot;
	k_mutex_unlock(&input_mutex);
}
```

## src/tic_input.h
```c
/* SPDX-License-Identifier: Apache-2.0 */

#ifndef AGMO_TIC_INPUT_H_
#define AGMO_TIC_INPUT_H_

#include "tic_types.h"

int tic_input_init(void);
int tic_input_start(void);
void tic_input_get_snapshot(struct tic_input_snapshot *out);

#endif /* AGMO_TIC_INPUT_H_ */
```

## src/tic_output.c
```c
/* SPDX-License-Identifier: Apache-2.0 */

#include "tic_output.h"

#include <zephyr/device.h>
#include <zephyr/devicetree.h>
#include <zephyr/drivers/gpio.h>
#include <zephyr/init.h>
#include <zephyr/kernel.h>

#define USER_NODE DT_PATH(zephyr_user)

struct tic_gpio_signal {
	const char *name;
	struct gpio_dt_spec gpio;
};

enum relay_id {
	RELAY_R1_KEY_ON,
	RELAY_R2_RESTART,
	RELAY_R3_MANUAL_LOCKOUT,
	RELAY_R4_ENGINE_STOP,
	RELAY_R5_AUX,
	RELAY_COUNT,
};

static const struct tic_gpio_signal relays[RELAY_COUNT] = {
	[RELAY_R1_KEY_ON] = {
		.name = "r1_key_on",
		.gpio = GPIO_DT_SPEC_GET(USER_NODE, do_relay1_gpios),
	},
	[RELAY_R2_RESTART] = {
		.name = "r2_restart",
		.gpio = GPIO_DT_SPEC_GET(USER_NODE, do_relay2_gpios),
	},
	[RELAY_R3_MANUAL_LOCKOUT] = {
		.name = "r3_manual_lockout",
		.gpio = GPIO_DT_SPEC_GET(USER_NODE, do_relay3_gpios),
	},
	[RELAY_R4_ENGINE_STOP] = {
		.name = "r4_engine_stop",
		.gpio = GPIO_DT_SPEC_GET(USER_NODE, do_relay4_gpios),
	},
	[RELAY_R5_AUX] = {
		.name = "r5_aux",
		.gpio = GPIO_DT_SPEC_GET(USER_NODE, do_relay5_gpios),
	},
};

static const struct tic_gpio_signal leds[TIC_LED_COUNT] = {
	[TIC_LED_RESTART] = {
		.name = "restart",
		.gpio = GPIO_DT_SPEC_GET(USER_NODE, restart_led_gpios),
	},
	[TIC_LED_ACC] = {
		.name = "acc",
		.gpio = GPIO_DT_SPEC_GET(USER_NODE, acc_led_gpios),
	},
	[TIC_LED_MANUAL] = {
		.name = "manual",
		.gpio = GPIO_DT_SPEC_GET(USER_NODE, manual_led_gpios),
	},
	[TIC_LED_KEY] = {
		.name = "key",
		.gpio = GPIO_DT_SPEC_GET(USER_NODE, key_led_gpios),
	},
};

static struct tic_output_snapshot snapshot;
static bool ready;
K_MUTEX_DEFINE(output_mutex);

static int configure_safe(const struct tic_gpio_signal *signals, size_t count)
{
	for (size_t i = 0; i < count; i++) {
		int ret;

		if (!device_is_ready(signals[i].gpio.port)) {
			return -ENODEV;
		}

		ret = gpio_pin_configure_dt(&signals[i].gpio,
					    GPIO_OUTPUT_INACTIVE | GPIO_PULL_DOWN);
		if (ret != 0) {
			return ret;
		}
		(void)gpio_pin_set_dt(&signals[i].gpio, 0);
	}

	return 0;
}

static int relays_early_safe_state(void)
{
	return configure_safe(relays, ARRAY_SIZE(relays));
}

SYS_INIT(relays_early_safe_state, APPLICATION, 0);

static int relay_set_locked(enum relay_id id, bool on)
{
	int ret;

	if (!ready) {
		return -EAGAIN;
	}

	if (on && id != RELAY_R1_KEY_ON && id != RELAY_R4_ENGINE_STOP &&
	    id != RELAY_R5_AUX &&
	    !snapshot.r1_key_on) {
		return -EACCES;
	}

	ret = gpio_pin_set_dt(&relays[id].gpio, on ? 1 : 0);
	if (ret != 0) {
		return ret;
	}

	switch (id) {
	case RELAY_R1_KEY_ON:
		snapshot.r1_key_on = on;
		break;
	case RELAY_R2_RESTART:
		snapshot.r2_restart = on;
		break;
	case RELAY_R3_MANUAL_LOCKOUT:
		snapshot.r3_manual_lockout = on;
		break;
	case RELAY_R4_ENGINE_STOP:
		snapshot.r4_engine_stop = on;
		break;
	case RELAY_R5_AUX:
		snapshot.r5_aux = on;
		break;
	default:
		return -EINVAL;
	}

	return 0;
}

static int led_set_locked(enum tic_led_id id, bool on)
{
	int ret = gpio_pin_set_dt(&leds[id].gpio, on ? 1 : 0);

	if (ret != 0) {
		return ret;
	}

	switch (id) {
	case TIC_LED_RESTART:
		snapshot.led_restart = on;
		break;
	case TIC_LED_ACC:
		snapshot.led_acc = on;
		break;
	case TIC_LED_MANUAL:
		snapshot.led_manual = on;
		break;
	case TIC_LED_KEY:
		snapshot.led_key = on;
		break;
	default:
		return -EINVAL;
	}

	return 0;
}

static void sync_auto_leds_locked(bool key_input_on)
{
	if (!snapshot.led_auto) {
		return;
	}

	(void)led_set_locked(TIC_LED_KEY, key_input_on);
	(void)led_set_locked(TIC_LED_RESTART, snapshot.r2_restart);
	(void)led_set_locked(TIC_LED_MANUAL, snapshot.r3_manual_lockout);
	(void)led_set_locked(TIC_LED_ACC, snapshot.r4_engine_stop);
}

int tic_output_init(void)
{
	int ret;

	ret = configure_safe(relays, ARRAY_SIZE(relays));
	if (ret != 0) {
		return ret;
	}
	ret = configure_safe(leds, ARRAY_SIZE(leds));
	if (ret != 0) {
		return ret;
	}

	k_mutex_lock(&output_mutex, K_FOREVER);
	snapshot = (struct tic_output_snapshot){
		.led_auto = true,
	};
	ready = true;
	k_mutex_unlock(&output_mutex);

	return 0;
}

int tic_output_set_r1(bool on)
{
	int ret;

	k_mutex_lock(&output_mutex, K_FOREVER);
	if (!on) {
		(void)relay_set_locked(RELAY_R2_RESTART, false);
		(void)relay_set_locked(RELAY_R3_MANUAL_LOCKOUT, false);
	}
	ret = relay_set_locked(RELAY_R1_KEY_ON, on);
	sync_auto_leds_locked(snapshot.led_key);
	k_mutex_unlock(&output_mutex);
	return ret;
}

int tic_output_set_r2(bool on)
{
	int ret;

	k_mutex_lock(&output_mutex, K_FOREVER);
	ret = relay_set_locked(RELAY_R2_RESTART, on);
	sync_auto_leds_locked(snapshot.led_key);
	k_mutex_unlock(&output_mutex);
	return ret;
}

int tic_output_set_r3(bool on)
{
	int ret;

	k_mutex_lock(&output_mutex, K_FOREVER);
	ret = relay_set_locked(RELAY_R3_MANUAL_LOCKOUT, on);
	sync_auto_leds_locked(snapshot.led_key);
	k_mutex_unlock(&output_mutex);
	return ret;
}

int tic_output_set_r4(bool on)
{
	int ret;

	k_mutex_lock(&output_mutex, K_FOREVER);
	ret = relay_set_locked(RELAY_R4_ENGINE_STOP, on);
	sync_auto_leds_locked(snapshot.led_key);
	k_mutex_unlock(&output_mutex);
	return ret;
}

int tic_output_set_r5(bool on)
{
	int ret;

	k_mutex_lock(&output_mutex, K_FOREVER);
	ret = relay_set_locked(RELAY_R5_AUX, on);
	sync_auto_leds_locked(snapshot.led_key);
	k_mutex_unlock(&output_mutex);
	return ret;
}

int tic_output_all_off(void)
{
	int ret = 0;

	k_mutex_lock(&output_mutex, K_FOREVER);
	if (relay_set_locked(RELAY_R2_RESTART, false) != 0) {
		ret = -EIO;
	}
	if (relay_set_locked(RELAY_R3_MANUAL_LOCKOUT, false) != 0) {
		ret = -EIO;
	}
	if (relay_set_locked(RELAY_R1_KEY_ON, false) != 0) {
		ret = -EIO;
	}
	if (relay_set_locked(RELAY_R4_ENGINE_STOP, false) != 0) {
		ret = -EIO;
	}
	if (relay_set_locked(RELAY_R5_AUX, false) != 0) {
		ret = -EIO;
	}
	sync_auto_leds_locked(snapshot.led_key);
	k_mutex_unlock(&output_mutex);
	return ret;
}

void tic_output_sync_auto_leds(bool key_input_on)
{
	k_mutex_lock(&output_mutex, K_FOREVER);
	sync_auto_leds_locked(key_input_on);
	k_mutex_unlock(&output_mutex);
}

int tic_output_led_set(enum tic_led_id id, bool on)
{
	int ret;

	if (id >= TIC_LED_COUNT) {
		return -EINVAL;
	}
	k_mutex_lock(&output_mutex, K_FOREVER);
	snapshot.led_auto = false;
	ret = led_set_locked(id, on);
	k_mutex_unlock(&output_mutex);
	return ret;
}

int tic_output_led_set_all(bool on)
{
	int ret = 0;

	k_mutex_lock(&output_mutex, K_FOREVER);
	snapshot.led_auto = false;
	for (size_t i = 0; i < ARRAY_SIZE(leds); i++) {
		if (led_set_locked((enum tic_led_id)i, on) != 0) {
			ret = -EIO;
		}
	}
	k_mutex_unlock(&output_mutex);
	return ret;
}

void tic_output_led_auto_enable(bool enable, bool key_input_on)
{
	k_mutex_lock(&output_mutex, K_FOREVER);
	snapshot.led_auto = enable;
	sync_auto_leds_locked(key_input_on);
	k_mutex_unlock(&output_mutex);
}

void tic_output_get_snapshot(struct tic_output_snapshot *out)
{
	if (out == NULL) {
		return;
	}
	k_mutex_lock(&output_mutex, K_FOREVER);
	*out = snapshot;
	k_mutex_unlock(&output_mutex);
}
```

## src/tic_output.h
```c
/* SPDX-License-Identifier: Apache-2.0 */

#ifndef AGMO_TIC_OUTPUT_H_
#define AGMO_TIC_OUTPUT_H_

#include <stdbool.h>

#include "tic_types.h"

enum tic_led_id {
	TIC_LED_RESTART,
	TIC_LED_ACC,
	TIC_LED_MANUAL,
	TIC_LED_KEY,
	TIC_LED_COUNT,
};

int tic_output_init(void);
int tic_output_set_r1(bool on);
int tic_output_set_r2(bool on);
int tic_output_set_r3(bool on);
int tic_output_set_r4(bool on);
int tic_output_set_r5(bool on);
int tic_output_all_off(void);
void tic_output_sync_auto_leds(bool key_input_on);
int tic_output_led_set(enum tic_led_id id, bool on);
int tic_output_led_set_all(bool on);
void tic_output_led_auto_enable(bool enable, bool key_input_on);
void tic_output_get_snapshot(struct tic_output_snapshot *out);

#endif /* AGMO_TIC_OUTPUT_H_ */
```

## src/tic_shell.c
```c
/* SPDX-License-Identifier: Apache-2.0 */

#include <zephyr/kernel.h>
#include <zephyr/shell/shell.h>

#include <stdlib.h>
#include <string.h>

#include "tic_can.h"
#include "tic_fsm.h"
#include "tic_input.h"
#include "tic_output.h"

static int post_event(const struct shell *sh, enum tic_event_type type,
		      uint16_t crank_time_ms)
{
	const struct tic_event event = {
		.type = type,
		.crank_time_ms = crank_time_ms,
		.command_code = 0,
		.source = TIC_CONTROL_SHELL,
	};
	int ret = tic_fsm_post(&event, K_MSEC(20));

	if (ret != 0) {
		shell_error(sh, "FSM queue error: %d", ret);
	}
	return ret;
}

static int parse_on_off(const char *text, bool *on)
{
	if (strcmp(text, "on") == 0) {
		*on = true;
		return 0;
	}
	if (strcmp(text, "off") == 0) {
		*on = false;
		return 0;
	}
	return -EINVAL;
}

static int cmd_tic(const struct shell *sh, size_t argc, char **argv)
{
	struct tic_fsm_snapshot fsm;
	struct tic_input_snapshot input;
	struct tic_output_snapshot output;
	bool on;

	if (strcmp(argv[1], "status") == 0 && argc == 2) {
		tic_fsm_get_snapshot(&fsm);
		tic_input_get_snapshot(&input);
		tic_output_get_snapshot(&output);
		shell_print(sh, "state=%s auto=%u source=%s valid=%u timeout=%u fault=%u inhibit=%u",
			    tic_fsm_state_name(fsm.state), fsm.auto_enabled,
			    fsm.auto_control_source == TIC_CONTROL_CAN ? "can" :
			    fsm.auto_control_source == TIC_CONTROL_SHELL ? "shell" : "none",
			    fsm.command_valid, fsm.can_timeout, fsm.fault,
			    fsm.inhibit);
		shell_print(sh, "start: accepted=%u cranking=%u complete=%u rejected=%u",
			    fsm.start_accepted,
			    fsm.state == TIC_STATE_AUTO_CRANKING,
			    fsm.start_complete, fsm.start_rejected);
		shell_print(sh, "stop: accepted=%u active=%u complete=%u rejected=%u",
			    fsm.stop_accepted,
			    fsm.state == TIC_STATE_ENGINE_STOPPING,
			    fsm.stop_complete, fsm.stop_rejected);
		shell_print(sh, "input: key=%u manual_crank=%u",
			    input.di1_key_on, input.di2_manual_crank);
		shell_print(sh, "relay: R1_key=%u R2_crank=%u R3_lockout=%u R4_stop=%u R5_aux=%u remaining=%u ms",
			    output.r1_key_on, output.r2_restart,
			    output.r3_manual_lockout, output.r4_engine_stop,
			    output.r5_aux,
			    fsm.crank_remaining_ms);
		return 0;
	}

	if (strcmp(argv[1], "all-off") == 0 && argc == 2) {
		return post_event(sh, TIC_EVENT_ALL_OFF, 0);
	}

	if (strcmp(argv[1], "stop") == 0 && argc == 2) {
		return post_event(sh, TIC_EVENT_STOP_REQUEST, 0);
	}

	if (strcmp(argv[1], "auto") == 0 && argc == 3 &&
	    parse_on_off(argv[2], &on) == 0) {
		return post_event(sh, on ? TIC_EVENT_AUTO_ENABLE :
					 TIC_EVENT_AUTO_DISABLE, 0);
	}

	if (strcmp(argv[1], "start") == 0 && argc == 3) {
		char *end;
		unsigned long value = strtoul(argv[2], &end, 10);

		if (*argv[2] == '\0' || *end != '\0' || value < 1000UL ||
		    value > 3000UL) {
			shell_error(sh, "start time must be 1000..3000 ms");
			return -EINVAL;
		}
		return post_event(sh, TIC_EVENT_START_REQUEST, (uint16_t)value);
	}

	shell_error(sh, "usage: tic <status|stop|all-off|auto on|auto off|start 1000..3000>");
	return -EINVAL;
}

static int cmd_input(const struct shell *sh, size_t argc, char **argv)
{
	struct tic_input_snapshot input;

	ARG_UNUSED(argc);
	if (strcmp(argv[1], "status") != 0) {
		shell_error(sh, "usage: input status");
		return -EINVAL;
	}
	tic_input_get_snapshot(&input);
	shell_print(sh, "DI1 key=%u, DI2 manual_crank=%u",
		    input.di1_key_on, input.di2_manual_crank);
	return 0;
}

static int cmd_relay(const struct shell *sh, size_t argc, char **argv)
{
	struct tic_output_snapshot output;
	unsigned long relay_number;
	char *end;
	bool on;
	int ret;

	if (strcmp(argv[1], "status") == 0 && argc == 2) {
		tic_output_get_snapshot(&output);
		shell_print(sh,
			    "R1_key=%u R2_crank=%u R3_lockout=%u R4_stop=%u R5_aux=%u",
			    output.r1_key_on, output.r2_restart,
			    output.r3_manual_lockout, output.r4_engine_stop,
			    output.r5_aux);
		return 0;
	}

	if (argc == 3 && parse_on_off(argv[2], &on) == 0) {
		relay_number = strtoul(argv[1], &end, 10);
		if (*argv[1] == '\0' || *end != '\0' || relay_number < 1UL ||
		    relay_number > 5UL) {
			goto usage;
		}

		switch (relay_number) {
		case 1:
			ret = tic_output_set_r1(on);
			break;
		case 2:
			ret = tic_output_set_r2(on);
			break;
		case 3:
			ret = tic_output_set_r3(on);
			break;
		case 4:
			ret = tic_output_set_r4(on);
			break;
		case 5:
			ret = tic_output_set_r5(on);
			break;
		default:
			return -EINVAL;
		}

		if (ret != 0) {
			shell_error(sh, "Relay %lu error: %d", relay_number, ret);
			if (ret == -EACCES) {
				shell_error(sh, "R2/R3 require R1 on");
			}
		}
		return ret;
	}

usage:
	shell_error(sh, "usage: relay <status|1..5 on|off>");
	return -EINVAL;
}

static int cmd_can(const struct shell *sh, size_t argc, char **argv)
{
	struct tic_can_snapshot can;

	ARG_UNUSED(argc);
	if (strcmp(argv[1], "status") != 0) {
		shell_error(sh, "usage: can status");
		return -EINVAL;
	}
	tic_can_get_snapshot(&can);
	shell_print(sh, "ready=%u state=%s command=%u timeout=%u last_error=%d",
		    can.ready, tic_can_state_name(can.bus_state),
		    can.command_received, can.timeout, can.last_error);
	shell_print(sh, "rx=%u drop=%u invalid=%u tx=%u tx_error=%u TEC=%u REC=%u",
		    can.rx_count, can.rx_drop_count, can.rx_invalid_count,
		    can.tx_count, can.tx_error_count, can.error_count.tx_err_cnt,
		    can.error_count.rx_err_cnt);
	return 0;
}

static int cmd_led(const struct shell *sh, size_t argc, char **argv)
{
	static const char *const names[] = { "restart", "acc", "manual", "key" };
	struct tic_input_snapshot input;
	struct tic_output_snapshot output;
	bool on;
	int ret;

	if (strcmp(argv[1], "status") == 0 && argc == 2) {
		tic_output_get_snapshot(&output);
		shell_print(sh, "mode=%s restart=%u acc=%u manual=%u key=%u",
			    output.led_auto ? "auto" : "manual",
			    output.led_restart, output.led_acc,
			    output.led_manual, output.led_key);
		return 0;
	}
	if (strcmp(argv[1], "auto") == 0 && argc == 2) {
		tic_input_get_snapshot(&input);
		tic_output_led_auto_enable(true, input.di1_key_on);
		return 0;
	}
	if (argc != 3 || parse_on_off(argv[2], &on) != 0) {
		shell_error(sh, "usage: led <status|auto|restart|acc|manual|key|all> [on|off]");
		return -EINVAL;
	}
	if (strcmp(argv[1], "all") == 0) {
		return tic_output_led_set_all(on);
	}
	for (size_t i = 0; i < ARRAY_SIZE(names); i++) {
		if (strcmp(argv[1], names[i]) == 0) {
			ret = tic_output_led_set((enum tic_led_id)i, on);
			if (ret != 0) {
				shell_error(sh, "LED error: %d", ret);
			}
			return ret;
		}
	}
	shell_error(sh, "unknown LED");
	return -EINVAL;
}

SHELL_CMD_ARG_REGISTER(tic, NULL,
	"TIC control: tic <status|stop|all-off|auto on|auto off|start 1000..3000>",
	cmd_tic, 2, 1);
SHELL_CMD_ARG_REGISTER(input, NULL, "Input diagnostics: input status",
	cmd_input, 2, 0);
SHELL_CMD_ARG_REGISTER(can, NULL, "CAN diagnostics: can status",
	cmd_can, 2, 0);
SHELL_CMD_ARG_REGISTER(relay, NULL,
	"Relay diagnostics: relay <status|1..5 on|off>", cmd_relay, 2, 1);
SHELL_CMD_ARG_REGISTER(led, NULL,
	"LED control: led <status|auto|restart|acc|manual|key|all> [on|off]",
	cmd_led, 2, 1);
```

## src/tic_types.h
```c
/* SPDX-License-Identifier: Apache-2.0 */

#ifndef AGMO_TIC_TYPES_H_
#define AGMO_TIC_TYPES_H_

#include <stdbool.h>
#include <stdint.h>

enum tic_state {
	TIC_STATE_INIT,
	TIC_STATE_SAFE_OFF,
	TIC_STATE_KEY_DETECTED,
	TIC_STATE_AUTO_ARMING,
	TIC_STATE_AUTO_READY,
	TIC_STATE_AUTO_CRANKING,
	TIC_STATE_AUTO_COMPLETE,
	TIC_STATE_ENGINE_STOPPING,
	TIC_STATE_FAULT,
};

enum tic_event_type {
	TIC_EVENT_BOOT_COMPLETE,
	TIC_EVENT_KEY_ON,
	TIC_EVENT_KEY_OFF,
	TIC_EVENT_MANUAL_CRANK_ON,
	TIC_EVENT_MANUAL_CRANK_OFF,
	TIC_EVENT_AUTO_ENABLE,
	TIC_EVENT_AUTO_DISABLE,
	TIC_EVENT_START_REQUEST,
	TIC_EVENT_STOP_REQUEST,
	TIC_EVENT_ALL_OFF,
	TIC_EVENT_AUTO_ARM_DELAY_DONE,
	TIC_EVENT_CRANK_TIMEOUT,
	TIC_EVENT_STOP_TIMEOUT,
	TIC_EVENT_KEY_RECOVERY_TIMEOUT,
	TIC_EVENT_CAN_VALID,
	TIC_EVENT_CAN_TIMEOUT,
	TIC_EVENT_CAN_BUS_OFF,
	TIC_EVENT_INTERNAL_FAULT,
};

enum tic_control_source {
	TIC_CONTROL_NONE,
	TIC_CONTROL_CAN,
	TIC_CONTROL_SHELL,
};

enum tic_fault_code {
	TIC_FAULT_NONE,
	TIC_FAULT_CAN_TIMEOUT,
	TIC_FAULT_CAN_BUS_OFF,
	TIC_FAULT_OUTPUT,
	TIC_FAULT_INTERNAL,
};

enum tic_inhibit_reason {
	TIC_INHIBIT_NONE,
	TIC_INHIBIT_KEY_OFF,
	TIC_INHIBIT_MANUAL_CRANK_ACTIVE,
	TIC_INHIBIT_AUTO_NOT_READY,
	TIC_INHIBIT_CRANK_TIME,
	TIC_INHIBIT_START_NOT_REARMED,
	TIC_INHIBIT_COMMAND_INVALID,
	TIC_INHIBIT_STOP_NOT_ALLOWED,
};

struct tic_event {
	enum tic_event_type type;
	uint16_t crank_time_ms;
	uint8_t command_code;
	enum tic_control_source source;
};

struct tic_fsm_snapshot {
	enum tic_state state;
	enum tic_fault_code fault;
	enum tic_inhibit_reason inhibit;
	bool key_on;
	bool manual_crank;
	bool auto_enabled;
	enum tic_control_source auto_control_source;
	bool start_accepted;
	bool start_complete;
	bool start_rejected;
	bool stop_accepted;
	bool stop_complete;
	bool stop_rejected;
	bool command_valid;
	bool can_timeout;
	uint8_t last_command_code;
	uint16_t crank_remaining_ms;
};

struct tic_input_snapshot {
	bool di1_key_on;
	bool di2_manual_crank;
};

struct tic_output_snapshot {
	bool r1_key_on;
	bool r2_restart;
	bool r3_manual_lockout;
	bool r4_engine_stop;
	bool r5_aux;
	bool led_restart;
	bool led_acc;
	bool led_manual;
	bool led_key;
	bool led_auto;
};

#endif /* AGMO_TIC_TYPES_H_ */
```
